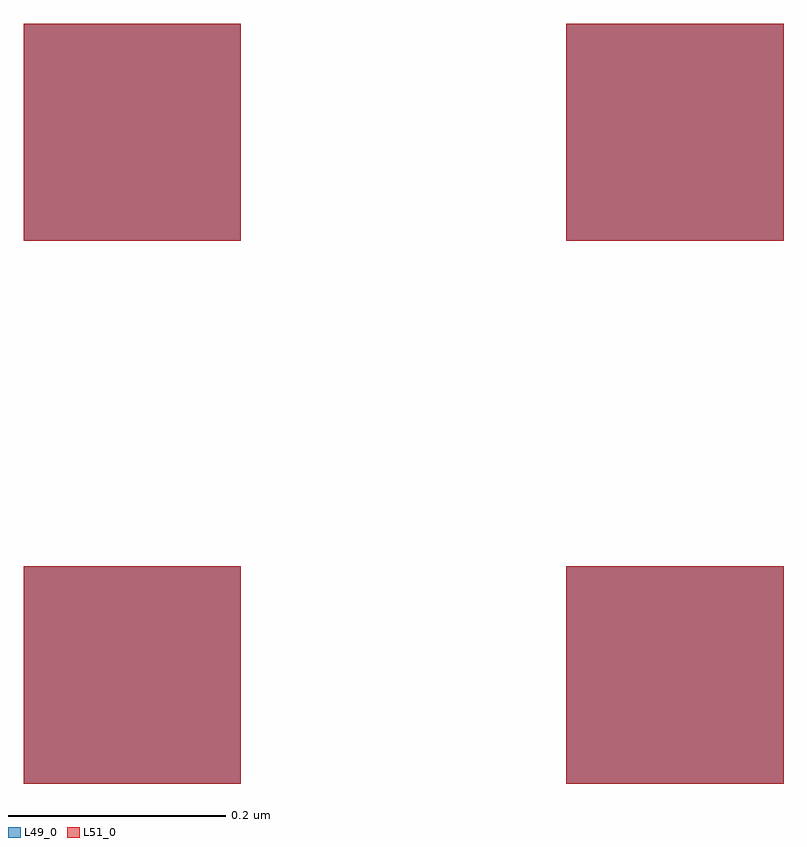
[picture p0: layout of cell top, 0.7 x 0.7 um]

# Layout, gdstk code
import gdstk
lib = gdstk.Library(unit=1e-6, precision=1e-09)
def R(c, l, rs):  # rectangles x0, y0, x1, y1
    for r in rs: c.add(gdstk.rectangle(r[:2], r[2:], *l))
L49_0 = (49, 0)
L51_0 = (51, 0)

via = lib.new_cell('via')
R(via, L49_0, [(0,0,0.2,0.2)])
R(via, L51_0, [(0,0,0.2,0.2)])

top = lib.new_cell('top')
r = gdstk.Reference(via, (0,0)); r.repetition = gdstk.Repetition(2, 2, v1=(0.5,0), v2=(0,0.5)); top.add(r)

lib.write_gds('top.gds')
